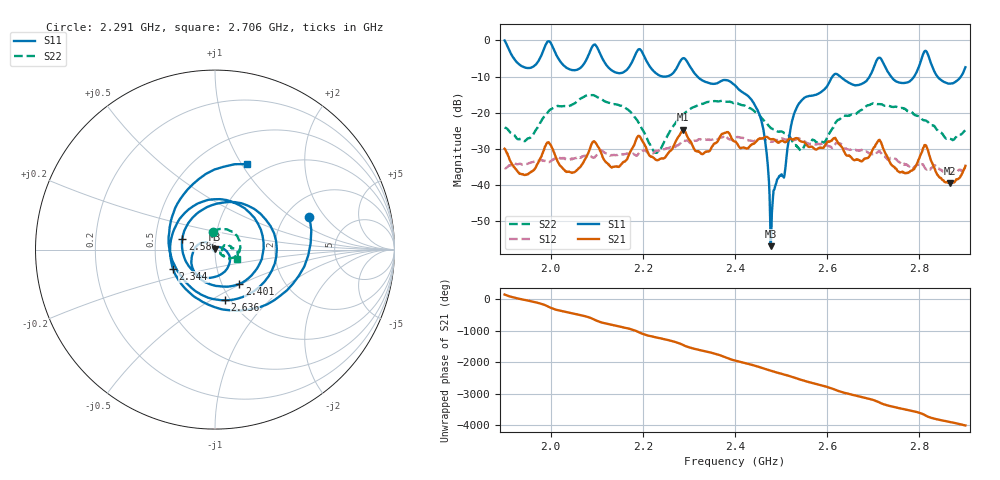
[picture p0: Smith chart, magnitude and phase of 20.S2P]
! C:\Users\rflab\Downloads\Lab5_KD_ZW\20.S2P
! Touchstone 1.1 file saved by VNA.EXE V1.65 (www.ke5fx.com/gpib/readme.htm)
! 11/11/2024 11:36:30 PM
!  Source: HEWLETT PACKARD,8753D,0,6.14
!  Min freq: 1.900000E+009 Hz
!  Max freq: 2.900000E+009 Hz
!  Points: 801
!  Params: S11 S21 S12 S22
# GHZ S RI R 50
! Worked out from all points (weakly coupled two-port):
!   801 points, 1.9 GHz to 2.9 GHz, reference 50 ohm
!   highest |S21| = -24.70 dB at 2.288 GHz (marker M1); lowest = -39.5 dB at 2.866 GHz (marker M2)
!   lowest |S11| = -56.8 dB at 2.478 GHz (marker M3), VSWR 1.00, Z = 49.9 + j0.13 ohm
!   |S11| at or under -10 dB: 2.318 GHz to 2.611 GHz (293 MHz wide, 11.9 % of centre); 2.628 GHz to 2.692 GHz (63.86 MHz wide, 2.4 % of centre); 2.739 GHz to 2.789 GHz (50.28 MHz wide, 1.82 % of centre) (the widest 3 of 5)
!   |S22| runs from -31.1 to -15.1 dB; largest |S21 - S12| = 0.021
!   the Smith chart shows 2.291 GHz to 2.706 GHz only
!   S11 on the Smith chart (normalised r, x): 2.291 GHz: 2.67, +1.42; 2.344 GHz: 0.61, -0.14; 2.401 GHz: 1.20, -0.49; 2.586 GHz: 0.69, +0.09; 2.636 GHz: 0.94, -0.58; 2.706 GHz: 0.82, +1.06
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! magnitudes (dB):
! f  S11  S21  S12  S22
! 1.9 GHz  0.0  -29.9  -35.3  -24.0
! 1.941 GHz  -7.4  -37.1  -34.3  -27.8
! 1.995 GHz  -0.2  -28.1  -33.6  -19.7
! 2.067 GHz  -7.2  -34.4  -32.1  -15.9
! 2.191 GHz  -2.5  -26.4  -31.2  -22.8
! 2.234 GHz  -9.6  -33.0  -30.4  -30.5
! 2.288 GHz  -4.9  -24.7  -27.7  -20.5
! 2.291 GHz  -5.1  -25.1  -27.8  -20.0
! 2.344 GHz  -11.8  -30.7  -27.5  -17.0
! 2.4 GHz  -12.4  -28.0  -27.3  -17.3
! 2.401 GHz  -12.6  -27.9  -27.1  -17.3
! 2.456 GHz  -21.8  -27.1  -27.1  -21.2
! 2.478 GHz  -56.8  -27.3  -28.0  -24.2
! 2.53 GHz  -19.7  -27.2  -27.5  -28.9
! 2.567 GHz  -15.3  -29.4  -28.6  -27.5
! 2.586 GHz  -14.3  -29.6  -28.6  -27.9
! 2.636 GHz  -10.8  -30.6  -29.6  -20.8
! 2.706 GHz  -5.9  -28.6  -31.4  -17.5
! 2.734 GHz  -9.1  -32.9  -32.9  -18.1
! 2.814 GHz  -2.9  -28.9  -35.5  -22.1
! 2.866 GHz  -12.0  -39.5  -36.4  -27.1
! 2.9 GHz  -7.4  -34.7  -36.2  -24.9
